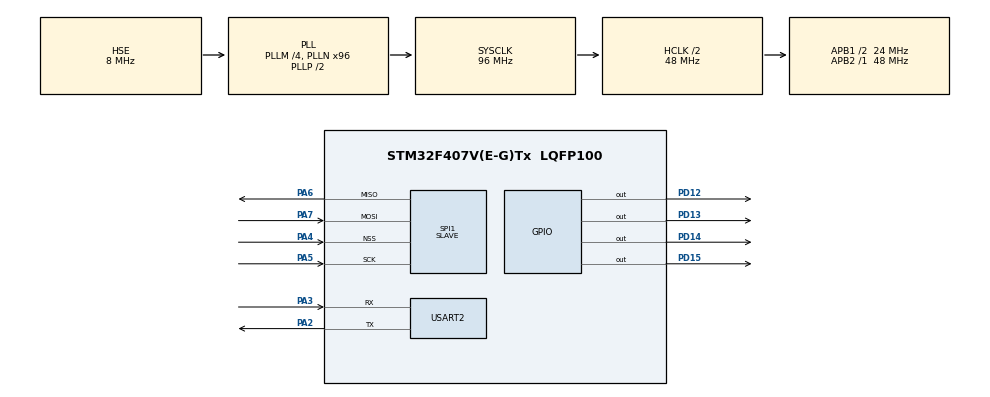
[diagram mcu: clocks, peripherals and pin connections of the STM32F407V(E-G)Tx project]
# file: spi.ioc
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Mcu.Family=STM32F4
Mcu.Name=STM32F407V(E-G)Tx
Mcu.Package=LQFP100
NVIC.PriorityGroup=NVIC_PRIORITYGROUP_4
NVIC.SPI1_IRQn=true\:0\:0\:false\:false\:true\:true\:true\:true
PA2.Mode=Asynchronous
PA2.Signal=USART2_TX
PA3.Mode=Asynchronous
PA3.Signal=USART2_RX
PA4.GPIO_PuPd=GPIO_PULLUP
PA4.Mode=NSS_Signal_Hard_Input
PA4.Signal=SPI1_NSS
PA5.Mode=Full_Duplex_Slave
PA5.Signal=SPI1_SCK
PA6.Mode=Full_Duplex_Slave
PA6.Signal=SPI1_MISO
PA7.Mode=Full_Duplex_Slave
PA7.Signal=SPI1_MOSI
PD12.Signal=GPIO_Output
PD13.Signal=GPIO_Output
PD14.Signal=GPIO_Output
PD15.Signal=GPIO_Output
PH0-OSC_IN.Mode=HSE-External-Oscillator
PH0-OSC_IN.Signal=RCC_OSC_IN
PH1-OSC_OUT.Mode=HSE-External-Oscillator
PH1-OSC_OUT.Signal=RCC_OSC_OUT
ProjectManager.HeapSize=0x200
ProjectManager.StackSize=0x400
ProjectManager.TargetToolchain=STM32CubeIDE
RCC.48MHZClocksFreq_Value=48000000
RCC.AHBCLKDivider=RCC_SYSCLK_DIV2
RCC.AHBFreq_Value=48000000
RCC.APB1CLKDivider=RCC_HCLK_DIV2
RCC.APB1Freq_Value=24000000
RCC.APB1TimFreq_Value=48000000
RCC.APB2Freq_Value=48000000
RCC.APB2TimFreq_Value=48000000
RCC.CortexFreq_Value=48000000
RCC.HCLKFreq_Value=48000000
RCC.HSE_VALUE=8000000
RCC.HSI_VALUE=16000000
RCC.LSE_VALUE=32768
RCC.PLLM=4
RCC.PLLN=96
RCC.PLLSourceVirtual=RCC_PLLSOURCE_HSE
RCC.SYSCLKFreq_VALUE=96000000
RCC.SYSCLKSource=RCC_SYSCLKSOURCE_PLLCLK
RCC.VCOOutputFreq_Value=192000000
SPI1.Direction=SPI_DIRECTION_2LINES
SPI1.Mode=SPI_MODE_SLAVE
SPI1.VirtualNSS=VM_NSSHARD
SPI1.VirtualType=VM_SLAVE
USART2.VirtualMode=VM_ASYNC
board=custom

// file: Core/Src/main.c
/* USER CODE BEGIN Header */
/**
  ******************************************************************************
  * @file           : main.c
  * @brief          : Main program body
  ******************************************************************************
  * @attention
  *
  * Copyright (c) 2025 STMicroelectronics.
  * All rights reserved.
  *
  * This software is licensed under terms that can be found in the LICENSE file
  * in the root directory of this software component.
  * If no LICENSE file comes with this software, it is provided AS-IS.
  *
  ******************************************************************************
  */
/* USER CODE END Header */
#include "main.h"
#include "spi.h"
#include "usart.h"
#include "gpio.h"

/* USER CODE BEGIN Includes */
#include <string.h>
/* USER CODE END Includes */

/* USER CODE BEGIN PD */
#define BUFFER_SIZE 10
/* USER CODE END PD */

/* USER CODE BEGIN PV */
uint8_t rxBuffer[BUFFER_SIZE]; // Received data buffer
volatile uint8_t dataReady = 0; // Data reception flag

/* USER CODE END PV */

void SystemClock_Config(void);

/* USER CODE BEGIN 0 */
void HAL_SPI_RxCpltCallback(SPI_HandleTypeDef *hspi) {
  dataReady = 1; // Set data ready flag
}

/* USER CODE END 0 */

int main(void)
{

  /* MCU Configuration--------------------------------------------------------*/

  /* Reset of all peripherals, Initializes the Flash interface and the Systick. */
  HAL_Init();

  /* Configure the system clock */
  SystemClock_Config();

  /* Initialize all configured peripherals */
  MX_GPIO_Init();
  MX_SPI1_Init();
  MX_USART2_UART_Init();
  /* USER CODE BEGIN 2 */
  HAL_SPI_Receive_IT(&hspi1, rxBuffer, BUFFER_SIZE);
  HAL_UART_Transmit(&huart2, rxBuffer, 10, 100);
  memset(rxBuffer, 0, BUFFER_SIZE);
  HAL_GPIO_TogglePin(GPIOD, GPIO_PIN_12);
  /* USER CODE END 2 */

  /* Infinite loop */
  /* USER CODE BEGIN WHILE */
  while (1)
  {
	    if (dataReady) {

	      	dataReady = 0;

	      	HAL_SPI_Receive_IT(&hspi1, rxBuffer, 10);
	      	HAL_UART_Transmit(&huart2, rxBuffer, 10, 100);
	      	HAL_GPIO_TogglePin(GPIOD, GPIO_PIN_12);

	      	memset(rxBuffer, 0, BUFFER_SIZE);
	      	HAL_Delay(10);
	    }
    /* USER CODE END WHILE */

  }
}

void SystemClock_Config(void)
{
  RCC_OscInitTypeDef RCC_OscInitStruct = {0};
  RCC_ClkInitTypeDef RCC_ClkInitStruct = {0};

  /** Configure the main internal regulator output voltage
  */
  __HAL_RCC_PWR_CLK_ENABLE();
  __HAL_PWR_VOLTAGESCALING_CONFIG(PWR_REGULATOR_VOLTAGE_SCALE1);

  /** Initializes the RCC Oscillators according to the specified parameters
  * in the RCC_OscInitTypeDef structure.
  */
  RCC_OscInitStruct.OscillatorType = RCC_OSCILLATORTYPE_HSE;
  RCC_OscInitStruct.HSEState = RCC_HSE_ON;
  RCC_OscInitStruct.PLL.PLLState = RCC_PLL_ON;
  RCC_OscInitStruct.PLL.PLLSource = RCC_PLLSOURCE_HSE;
  RCC_OscInitStruct.PLL.PLLM = 4;
  RCC_OscInitStruct.PLL.PLLN = 96;
  RCC_OscInitStruct.PLL.PLLP = RCC_PLLP_DIV2;
  RCC_OscInitStruct.PLL.PLLQ = 4;
  if (HAL_RCC_OscConfig(&RCC_OscInitStruct) != HAL_OK)
  {
    Error_Handler();
  }

  /** Initializes the CPU, AHB and APB buses clocks
  */
  RCC_ClkInitStruct.ClockType = RCC_CLOCKTYPE_HCLK|RCC_CLOCKTYPE_SYSCLK
                              |RCC_CLOCKTYPE_PCLK1|RCC_CLOCKTYPE_PCLK2;
  RCC_ClkInitStruct.SYSCLKSource = RCC_SYSCLKSOURCE_PLLCLK;
  RCC_ClkInitStruct.AHBCLKDivider = RCC_SYSCLK_DIV2;
  RCC_ClkInitStruct.APB1CLKDivider = RCC_HCLK_DIV2;
  RCC_ClkInitStruct.APB2CLKDivider = RCC_HCLK_DIV1;

  if (HAL_RCC_ClockConfig(&RCC_ClkInitStruct, FLASH_LATENCY_1) != HAL_OK)
  {
    Error_Handler();
  }
}

void Error_Handler(void)
{
  __disable_irq();
  while (1)
  {
  }
}
